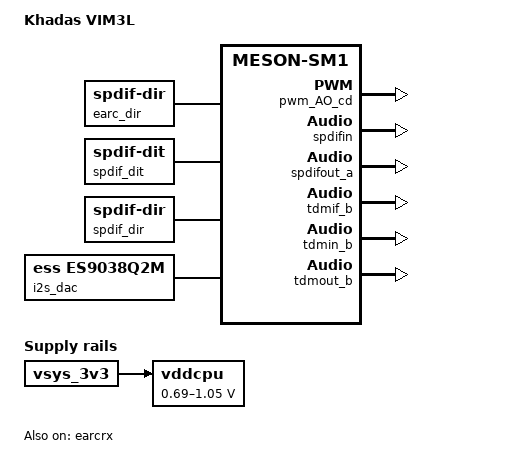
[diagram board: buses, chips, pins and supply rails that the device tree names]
// SPDX-License-Identifier: (GPL-2.0+ OR MIT)
/*
 * Copyright (c) 2019 BayLibre, SAS
 * Author: Neil Armstrong <narmstrong@baylibre.com>
 */

/dts-v1/;

#include "meson-sm1.dtsi"
#include "meson-khadas-vim3.dtsi"
#include <dt-bindings/sound/meson-g12a-tohdmitx.h>
#include <dt-bindings/clock/axg-audio-clkc.h>

/ {
	compatible = "khadas,vim3l", "amlogic,sm1";
	model = "Khadas VIM3L";

	earc_dir: audio-codec-0 {
		#sound-dai-cells = <0>;
		compatible = "linux,spdif-dir";
		status = "okay";
		sound-name-prefix = "EARC_DIR";
	};

	vddcpu: regulator-vddcpu {
		/*
		 * Silergy SY8030DEC Regulator.
		 */
		compatible = "pwm-regulator";

		regulator-name = "VDDCPU";
		regulator-min-microvolt = <690000>;
		regulator-max-microvolt = <1050000>;

		pwm-supply = <&vsys_3v3>;

		pwms = <&pwm_AO_cd 1 1250 0>;
		pwm-dutycycle-range = <100 0>;

		regulator-boot-on;
		regulator-always-on;
	};

	spdif_dit: audio-codec-100 {
		#sound-dai-cells = <0>;
		compatible = "linux,spdif-dit";
		status = "okay";
		sound-name-prefix = "DIT";
	};

	spdif_dir: audio-codec-101 {
		#sound-dai-cells = <0>;
		compatible = "linux,spdif-dir";
		status = "okay";
		sound-name-prefix = "DIR";
	};

	i2s_dac: audio-codec-102 {
		#sound-dai-cells = <0>;
		compatible = "ess,es9038q2m";
		status = "okay";
		sound-name-prefix = "ES9038";
	};

	sound {
		model = "G12B-KHADAS-VIM3L";
		audio-aux-devs = <&tdmin_a>, <&tdmin_b>,
				 <&tdmout_a>, <&tdmout_b>;
		audio-widgets = "Line", "Lineout";
		audio-routing = "TDMOUT_A IN 0", "FRDDR_A OUT 0",
				"TDMOUT_B IN 0", "FRDDR_A OUT 1",
				"SPDIFOUT_A IN 0", "FRDDR_A OUT 3",
				"TDMOUT_A IN 1", "FRDDR_B OUT 0",
				"TDMOUT_B IN 1", "FRDDR_B OUT 1",
				"SPDIFOUT_A IN 1", "FRDDR_B OUT 3",
				"TDMOUT_A IN 2", "FRDDR_C OUT 0",
				"TDMOUT_B IN 2", "FRDDR_C OUT 1",
				"SPDIFOUT_A IN 2", "FRDDR_C OUT 3",
				"TDM_A Playback", "TDMOUT_A OUT",
				"TDM_B Playback", "TDMOUT_B OUT",
				"TDMIN_A IN 0", "TDM_A Capture",
				"TDMIN_A IN 1", "TDM_B Capture",
				"TDMIN_A IN 13", "TDM_A Loopback",
				"TDMIN_A IN 14", "TDM_B Loopback",
				"TDMIN_B IN 0", "TDM_A Capture",
				"TDMIN_B IN 1", "TDM_B Capture",
				"TDMIN_B IN 13", "TDM_A Loopback",
				"TDMIN_B IN 14", "TDM_B Loopback",
				"TODDR_A IN 0", "TDMIN_A OUT",
				"TODDR_B IN 0", "TDMIN_A OUT",
				"TODDR_C IN 0", "TDMIN_A OUT",
				"TODDR_A IN 1", "TDMIN_B OUT",
				"TODDR_B IN 1", "TDMIN_B OUT",
				"TODDR_C IN 1", "TDMIN_B OUT",
				"TODDR_A IN 3", "SPDIFIN Capture",
				"TODDR_B IN 3", "SPDIFIN Capture",
				"TODDR_C IN 3", "SPDIFIN Capture",
				"TODDR_A IN 11", "EARCRX OUT",
				"TODDR_B IN 11", "EARCRX OUT",
				"TODDR_C IN 11", "EARCRX OUT",
				"Lineout", "ES9038 DACL",
				"Lineout", "ES9038 DACR";

		dai-link-8 {
			sound-dai = <&earcrx>;

			codec {
				sound-dai = <&earc_dir>;
			};
		};

		/* 2ch external on the 40pins headers */
		dai-link-100 {
			sound-dai = <&tdmif_b>;
			dai-format = "i2s";
			continuous-clock;
			dai-tdm-slot-tx-mask-0 = <1 1>;

			codec {
				sound-dai = <&i2s_dac>;
			};

		};

		dai-link-101 {
			sound-dai = <&spdifout_a>;

			codec {
				sound-dai = <&spdif_dit>;
			};
		};

		dai-link-102 {
			sound-dai = <&spdifin>;

			codec {
				sound-dai = <&spdif_dir>;
			};
		};
	};
};

&cpu0 {
	cpu-supply = <&vddcpu>;
	operating-points-v2 = <&cpu_opp_table>;
	clocks = <&clkc CLKID_CPU_CLK>;
};

&cpu1 {
	cpu-supply = <&vddcpu>;
	operating-points-v2 = <&cpu_opp_table>;
	clocks = <&clkc CLKID_CPU1_CLK>;
};

&cpu2 {
	cpu-supply = <&vddcpu>;
	operating-points-v2 = <&cpu_opp_table>;
	clocks = <&clkc CLKID_CPU2_CLK>;
};

&cpu3 {
	cpu-supply = <&vddcpu>;
	operating-points-v2 = <&cpu_opp_table>;
	clocks = <&clkc CLKID_CPU3_CLK>;
};

&pwm_AO_cd {
	pinctrl-0 = <&pwm_ao_d_e_pins>;
	pinctrl-names = "default";
	status = "okay";
};

/*
 * The VIM3 on-board  MCU can mux the PCIe/USB3.0 shared differential
 * lines using a FUSB340TMX USB 3.1 SuperSpeed Data Switch between
 * an USB3.0 Type A connector and a M.2 Key M slot.
 * The PHY driving these differential lines is shared between
 * the USB3.0 controller and the PCIe Controller, thus only
 * a single controller can use it.
 * If the MCU is configured to mux the PCIe/USB3.0 differential lines
 * to the M.2 Key M slot, uncomment the following block to disable
 * USB3.0 from the USB Complex and enable the PCIe controller.
 * The End User is not expected to uncomment the following except for
 * testing purposes, but instead rely on the firmware/bootloader to
 * update these nodes accordingly if PCIe mode is selected by the MCU.
 */
/*
&pcie {
	status = "okay";
};

&usb {
	phys = <&usb2_phy0>, <&usb2_phy1>;
	phy-names = "usb2-phy0", "usb2-phy1";
};
 */

&sd_emmc_a {
	sd-uhs-sdr50;
};

&earcrx {
	status = "okay";
};

&spdifin {
	pinctrl-0 = <&spdif_in_h_pins>;
	pinctrl-names = "default";
	status = "okay";
};

&spdifout_a {
	pinctrl-0 = <&spdif_ao_out_pins>;
	pinctrl-names = "default";
	status = "okay";
};

&tdmif_b {
	status = "okay";
	pinctrl-0 = <&tdm_b_fs_pins>, <&tdm_b_sclk_pins>, <&tdm_b_dout0_pins>;
	pinctrl-names = "default";
	assigned-clocks = <&clkc_audio AUD_CLKID_TDM_SCLK_PAD1>,
			  <&clkc_audio AUD_CLKID_TDM_LRCLK_PAD1>;
	assigned-clock-parents = <&clkc_audio AUD_CLKID_MST_B_SCLK>,
				 <&clkc_audio AUD_CLKID_MST_B_LRCLK>;
	assigned-clock-rates = <0>, <0>;
};

&tdmin_b {
	status = "okay";
};

&tdmout_b {
	status = "okay";
};
